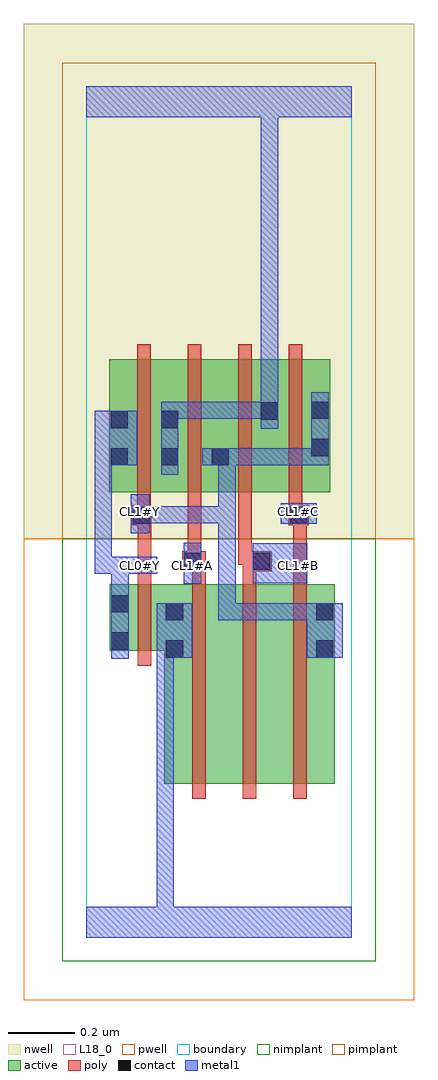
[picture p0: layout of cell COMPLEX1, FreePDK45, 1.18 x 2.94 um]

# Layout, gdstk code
import gdstk
lib = gdstk.Library(unit=1e-6, precision=1e-09)
def R(c, l, rs):  # rectangles x0, y0, x1, y1
    for r in rs: c.add(gdstk.rectangle(r[:2], r[2:], *l))
def A(c, l, x, y, w, h, nx, ny, dx, dy):  # array of equal rectangles
    R(c, l, [(x+i*dx, y+j*dy, x+i*dx+w, y+j*dy+h) for i in range(nx) for j in range(ny)])
active = (1, 0)
pwell = (2, 0)
nwell = (3, 0)
nimplant = (4, 0)
pimplant = (5, 0)
poly = (9, 0)
contact = (10, 0)
metal1 = (11, 0)
L18_0 = (18, 0)
boundary = (235, 0)

complex1 = lib.new_cell('COMPLEX1')
A(complex1, active, 0.07, 1.34, 0.06, 0.304, 3, 1, 0.152, 0)
R(complex1, active, [(0.236,0.462,0.416,1.062), (0.416,0.462,0.568,1.062), (0.568,0.462,0.748,1.062), (0.688,0.556,0.748,1.062), (0.236,0.838,0.296,1.062), (0.072,0.862,0.296,1.062), (0.072,0.862,0.132,1.062), (0.07,1.34,0.282,1.74), (0.222,1.34,0.434,1.74), (0.374,1.34,0.582,1.74), (0.522,1.34,0.582,1.644), (0.522,1.34,0.734,1.74), (0.674,1.34,0.734,1.644)])
R(complex1, pwell, [(-0.188,-0.188,0.988,1.2)])
R(complex1, nwell, [(-0.188,1.2,0.988,2.748)])
R(complex1, nimplant, [(-0.072,-0.072,0.872,1.2)])
R(complex1, pimplant, [(-0.072,1.2,0.872,2.632)])
A(complex1, poly, 0.32, 0.418, 0.04, 0.688, 3, 1, 0.152, 0)
A(complex1, poly, 0.154, 1.296, 0.04, 0.488, 4, 1, 0.152, 0)
R(complex1, poly, [(0.156,0.818,0.196,1.106), (0.156,1.066,0.196,1.28), (0.32,1.066,0.36,1.142), (0.472,1.066,0.512,1.142), (0.624,1.066,0.664,1.28), (0.29,1.102,0.36,1.162), (0.472,1.102,0.558,1.162), (0.306,1.122,0.346,1.162), (0.306,1.122,0.346,1.162), (0.306,1.122,0.346,1.336), (0.458,1.122,0.498,1.336), (0.458,1.122,0.512,1.162), (0.472,1.122,0.512,1.162), (0.136,1.24,0.196,1.3), (0.156,1.24,0.196,1.28), (0.156,1.24,0.196,1.28), (0.61,1.24,0.67,1.3), (0.624,1.24,0.664,1.28), (0.624,1.24,0.664,1.28), (0.154,1.26,0.194,1.336), (0.61,1.26,0.65,1.336)])
A(complex1, contact, 0.074, 1.42, 0.052, 0.052, 3, 1, 0.152, 0)
R(complex1, contact, [(0.24,0.842,0.292,0.894), (0.692,0.842,0.744,0.894), (0.076,0.866,0.128,0.918), (0.24,0.954,0.292,1.006), (0.692,0.954,0.744,1.006), (0.076,0.978,0.128,1.03), (0.294,1.106,0.346,1.158), (0.502,1.106,0.554,1.158), (0.14,1.244,0.192,1.296), (0.614,1.244,0.666,1.296), (0.678,1.448,0.73,1.5), (0.074,1.532,0.126,1.584), (0.226,1.532,0.278,1.584), (0.526,1.558,0.578,1.61), (0.678,1.56,0.73,1.612)])
R(complex1, metal1, [(0,0,0.8,0.092), (0.212,0.04,0.264,0.894), (0.076,0.838,0.128,1.058), (0.212,0.842,0.264,0.894), (0.212,0.842,0.264,0.894), (0.212,0.842,0.264,0.894), (0.212,0.842,0.264,0.894), (0.212,0.842,0.264,0.894), (0.212,0.842,0.264,0.894), (0.212,0.842,0.264,0.894), (0.212,0.842,0.264,0.894), (0.212,0.842,0.32,1.006), (0.664,0.842,0.772,1.006), (0.398,0.954,0.45,1.006), (0.398,0.954,0.498,1.006), (0.398,0.954,0.45,1.298), (0.446,0.954,0.498,1.006), (0.446,0.954,0.568,1.006), (0.516,0.954,0.568,1.006), (0.516,0.954,0.716,1.006), (0.664,0.954,0.716,1.006), (0.664,0.954,0.716,1.006), (0.076,1.006,0.128,1.146), (0.294,1.064,0.346,1.188), (0.502,1.066,0.666,1.186), (0.026,1.094,0.078,1.472), (0.026,1.094,0.214,1.146), (0.134,1.216,0.192,1.334), (0.586,1.244,0.694,1.306), (0.14,1.246,0.192,1.298), (0.14,1.246,0.192,1.298), (0.14,1.246,0.388,1.298), (0.336,1.246,0.388,1.298), (0.336,1.246,0.45,1.298), (0.398,1.246,0.45,1.298), (0.398,1.246,0.45,1.298), (0.398,1.246,0.45,1.298), (0.398,1.246,0.45,1.472), (0.226,1.392,0.278,1.612), (0.026,1.42,0.078,1.472), (0.026,1.42,0.078,1.472), (0.026,1.42,0.154,1.584), (0.35,1.42,0.458,1.472), (0.406,1.42,0.498,1.472), (0.446,1.42,0.498,1.472), (0.446,1.42,0.606,1.472), (0.554,1.42,0.606,1.472), (0.554,1.42,0.73,1.472), (0.678,1.42,0.73,1.472), (0.678,1.42,0.73,1.472), (0.678,1.42,0.73,1.64), (0.526,1.53,0.578,1.638), (0.226,1.56,0.388,1.612), (0.336,1.56,0.388,1.612), (0.336,1.56,0.388,1.612), (0.336,1.56,0.388,1.612), (0.336,1.56,0.498,1.612), (0.446,1.56,0.498,1.612), (0.446,1.56,0.578,1.612), (0.526,1.586,0.578,1.638), (0.526,1.586,0.578,1.638), (0.526,1.586,0.578,1.638), (0.526,1.586,0.578,1.638), (0.526,1.586,0.578,1.638), (0.526,1.586,0.578,1.638), (0.526,1.586,0.578,1.638), (0.526,1.586,0.578,1.638), (0.526,1.586,0.578,1.638), (0.526,1.586,0.578,1.638), (0.526,1.586,0.578,1.638), (0.526,1.586,0.578,1.638), (0.526,1.586,0.578,1.638), (0.526,1.586,0.578,1.638), (0.526,1.586,0.578,1.638), (0.526,1.586,0.578,1.638), (0.526,1.586,0.578,2.52), (0,2.468,0.8,2.56)])
R(complex1, L18_0, [(0,0,0.8,0.092), (0.212,0.04,0.264,0.894), (0.076,0.838,0.128,1.058), (0.212,0.842,0.264,0.894), (0.212,0.842,0.264,0.894), (0.212,0.842,0.264,0.894), (0.212,0.842,0.264,0.894), (0.212,0.842,0.264,0.894), (0.212,0.842,0.264,0.894), (0.212,0.842,0.264,0.894), (0.212,0.842,0.264,0.894), (0.212,0.842,0.32,1.006), (0.664,0.842,0.772,1.006), (0.398,0.954,0.45,1.006), (0.398,0.954,0.45,1.298), (0.398,0.954,0.498,1.006), (0.446,0.954,0.498,1.006), (0.446,0.954,0.568,1.006), (0.516,0.954,0.568,1.006), (0.516,0.954,0.716,1.006), (0.664,0.954,0.716,1.006), (0.664,0.954,0.716,1.006), (0.076,1.006,0.128,1.146), (0.294,1.064,0.346,1.188), (0.502,1.066,0.666,1.186), (0.026,1.094,0.214,1.146), (0.026,1.094,0.078,1.472), (0.134,1.094,0.186,1.146), (0.294,1.094,0.346,1.146), (0.614,1.094,0.666,1.146), (0.134,1.216,0.192,1.334), (0.586,1.244,0.694,1.306), (0.14,1.246,0.192,1.298), (0.14,1.246,0.192,1.298), (0.14,1.246,0.388,1.298), (0.336,1.246,0.388,1.298), (0.336,1.246,0.45,1.298), (0.398,1.246,0.45,1.298), (0.398,1.246,0.45,1.298), (0.398,1.246,0.45,1.298), (0.398,1.246,0.45,1.472), (0.134,1.254,0.186,1.306), (0.614,1.254,0.666,1.306), (0.226,1.392,0.278,1.612), (0.026,1.42,0.078,1.472), (0.026,1.42,0.078,1.472), (0.026,1.42,0.154,1.584), (0.35,1.42,0.458,1.472), (0.406,1.42,0.498,1.472), (0.446,1.42,0.498,1.472), (0.446,1.42,0.606,1.472), (0.554,1.42,0.606,1.472), (0.554,1.42,0.73,1.472), (0.678,1.42,0.73,1.64), (0.678,1.42,0.73,1.472), (0.678,1.42,0.73,1.472), (0.526,1.53,0.578,1.638), (0.226,1.56,0.388,1.612), (0.336,1.56,0.388,1.612), (0.336,1.56,0.388,1.612), (0.336,1.56,0.388,1.612), (0.336,1.56,0.498,1.612), (0.446,1.56,0.498,1.612), (0.446,1.56,0.578,1.612), (0.526,1.586,0.578,1.638), (0.526,1.586,0.578,1.638), (0.526,1.586,0.578,1.638), (0.526,1.586,0.578,1.638), (0.526,1.586,0.578,1.638), (0.526,1.586,0.578,1.638), (0.526,1.586,0.578,1.638), (0.526,1.586,0.578,1.638), (0.526,1.586,0.578,1.638), (0.526,1.586,0.578,1.638), (0.526,1.586,0.578,1.638), (0.526,1.586,0.578,1.638), (0.526,1.586,0.578,1.638), (0.526,1.586,0.578,1.638), (0.526,1.586,0.578,1.638), (0.526,1.586,0.578,1.638), (0.526,1.586,0.578,2.52), (0,2.468,0.8,2.56)])
R(complex1, boundary, [(0,0,0.8,2.56)])
complex1.add(gdstk.Label('CL0#Y', (0.16,1.12), layer=11, texttype=0))
complex1.add(gdstk.Label('CL1#A', (0.32,1.12), layer=11, texttype=0))
complex1.add(gdstk.Label('CL1#B', (0.64,1.12), layer=11, texttype=0))
complex1.add(gdstk.Label('CL1#C', (0.64,1.28), layer=11, texttype=0))
complex1.add(gdstk.Label('CL1#Y', (0.16,1.28), layer=11, texttype=0))

lib.write_gds('COMPLEX1.gds')
